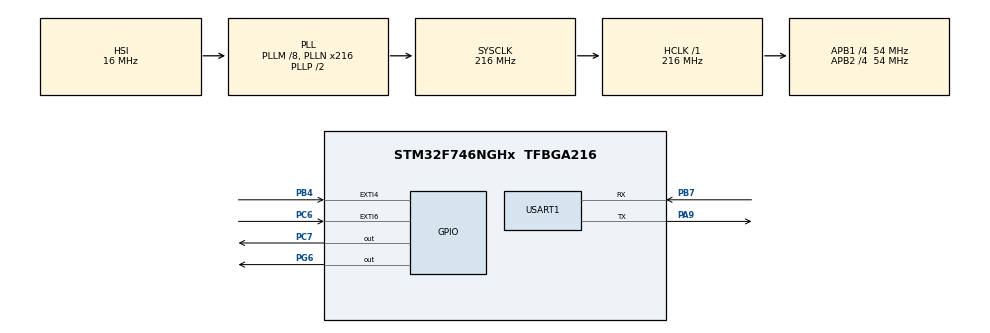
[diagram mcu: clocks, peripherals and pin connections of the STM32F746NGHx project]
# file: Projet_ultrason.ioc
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Mcu.Family=STM32F7
Mcu.Name=STM32F746NGHx
Mcu.Package=TFBGA216
NVIC.EXTI4_IRQn=true\:0\:0\:false\:false\:true\:true\:true
NVIC.EXTI9_5_IRQn=true\:0\:0\:false\:false\:true\:true\:true
NVIC.PriorityGroup=NVIC_PRIORITYGROUP_4
NVIC.TIM1_UP_TIM10_IRQn=true\:15\:0\:false\:false\:true\:false\:true
NVIC.TIM2_IRQn=true\:0\:0\:false\:false\:true\:true\:true
NVIC.TIM3_IRQn=true\:0\:0\:false\:false\:true\:true\:true
NVIC.TIM4_IRQn=true\:0\:0\:false\:false\:true\:true\:true
NVIC.TimeBase=TIM1_UP_TIM10_IRQn
NVIC.TimeBaseIP=TIM1
NVIC.USART1_IRQn=true\:0\:0\:false\:false\:true\:true\:true
PA13.Mode=Serial_Wire
PA13.Signal=SYS_JTMS-SWDIO
PA14.Mode=Serial_Wire
PA14.Signal=SYS_JTCK-SWCLK
PA9.Mode=Asynchronous
PA9.Signal=USART1_TX
PB4.Signal=GPXTI4
PB7.Mode=Asynchronous
PB7.Signal=USART1_RX
PC6.GPIO_ModeDefaultEXTI=GPIO_MODE_IT_RISING
PC6.Signal=GPXTI6
PC7.GPIO_ModeDefaultOutputPP=GPIO_MODE_OUTPUT_PP
PC7.GPIO_PuPd=GPIO_PULLUP
PC7.GPIO_Speed=GPIO_SPEED_FREQ_VERY_HIGH
PC7.PinState=GPIO_PIN_RESET
PC7.Signal=GPIO_Output
PG6.GPIO_PuPd=GPIO_PULLUP
PG6.GPIO_Speed=GPIO_SPEED_FREQ_VERY_HIGH
PG6.Signal=GPIO_Output
PH0/OSC_IN.Mode=HSE-External-Oscillator
PH0/OSC_IN.Signal=RCC_OSC_IN
PH1/OSC_OUT.Mode=HSE-External-Oscillator
PH1/OSC_OUT.Signal=RCC_OSC_OUT
ProjectManager.HeapSize=0x200
ProjectManager.StackSize=0x400
ProjectManager.TargetToolchain=STM32CubeIDE
RCC.AHBFreq_Value=216000000
RCC.APB1CLKDivider=RCC_HCLK_DIV4
RCC.APB1Freq_Value=54000000
RCC.APB1TimFreq_Value=108000000
RCC.APB2CLKDivider=RCC_HCLK_DIV4
RCC.APB2Freq_Value=54000000
RCC.APB2TimFreq_Value=108000000
RCC.CortexFreq_Value=216000000
RCC.HCLKFreq_Value=216000000
RCC.HSE_VALUE=25000000
RCC.HSI_VALUE=16000000
RCC.LSE_VALUE=32768
RCC.PLLM=8
RCC.PLLN=216
RCC.PLLSourceVirtual=RCC_PLLSOURCE_HSI
RCC.SYSCLKFreq_VALUE=216000000
RCC.SYSCLKSource=RCC_SYSCLKSOURCE_PLLCLK
RCC.USBFreq_Value=216000000
RCC.VCOOutputFreq_Value=432000000
TIM2.Period=1079
TIM3.Period=16666
TIM3.Prescaler=107
TIM4.Period=16666
TIM4.Prescaler=107
USART1.VirtualMode-Asynchronous=VM_ASYNC
VP_SYS_VS_tim1.Mode=TIM1
VP_TIM2_VS_ClockSourceINT.Mode=Internal
VP_TIM3_VS_ClockSourceINT.Mode=Internal
VP_TIM4_VS_ClockSourceINT.Mode=Internal
board=STM32F746G-DISCO

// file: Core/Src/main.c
/* USER CODE BEGIN Header */
/**
  ******************************************************************************
  * @file           : main.c
  * @brief          : Main program body
  ******************************************************************************
  * @attention
  *
  * <h2><center>&copy; Copyright (c) 2021 STMicroelectronics.
  * All rights reserved.</center></h2>
  *
  * This software component is licensed by ST under BSD 3-Clause license,
  * the "License"; You may not use this file except in compliance with the
  * License. You may obtain a copy of the License at:
  *                        opensource.org/licenses/BSD-3-Clause
  *
  ******************************************************************************
  */
/* USER CODE END Header */
#include "main.h"

TIM_HandleTypeDef htim2;
TIM_HandleTypeDef htim3;
TIM_HandleTypeDef htim4;

UART_HandleTypeDef huart1;

/* USER CODE BEGIN PV */
uint8_t data[10];
uint8_t data_2[10];
uint8_t ASK_T=0;
uint8_t ASK_U=0;

/* USER CODE END PV */

void SystemClock_Config(void);
static void MX_GPIO_Init(void);
static void MX_USART1_UART_Init(void);
static void MX_TIM2_Init(void);
static void MX_TIM4_Init(void);
static void MX_TIM3_Init(void);

/* USER CODE BEGIN 0 */
int __io_putchar(int ch) {
HAL_UART_Transmit(&huart1, (uint8_t *)&ch, 1, HAL_MAX_DELAY);
return ch;
}
/* USER CODE END 0 */

int main(void)
{

  /* MCU Configuration--------------------------------------------------------*/

  /* Reset of all peripherals, Initializes the Flash interface and the Systick. */
  HAL_Init();

  /* Configure the system clock */
  SystemClock_Config();

  /* Initialize all configured peripherals */
  MX_GPIO_Init();
  MX_USART1_UART_Init();
  MX_TIM2_Init();
  MX_TIM4_Init();
  MX_TIM3_Init();
  /* USER CODE BEGIN 2 */
  HAL_TIM_Base_Start_IT(&htim2);
  HAL_UART_Receive_IT (&huart1, data, 1);
  HAL_UART_Receive_IT (&huart1, data_2, 1);
  HAL_TIM_Base_Start(&htim4);
  /* USER CODE END 2 */

  /* Infinite loop */
  while (1)
  {

    /* USER CODE BEGIN 3 */
	 /* if(ASK_T == 1){

		  //GPIO_PIN_SET(PC7);
		  HAL_GPIO_WritePin(GPIOC, GPIO_PIN_7, GPIO_PIN_SET);
		  //printf("\r\nTrigger demandé !!\r\n");
		  //ASK_T=0;
		  //HAL_TIM_Base_Start_IT(&htim2);
	  }*/
	  //printf("duree = %d\r\n", TIM4->CNT);
	  //printf("distance = %f m\r\n ", distance);
  }
  /* USER CODE END 3 */
}

void SystemClock_Config(void)
{
  RCC_OscInitTypeDef RCC_OscInitStruct = {0};
  RCC_ClkInitTypeDef RCC_ClkInitStruct = {0};
  RCC_PeriphCLKInitTypeDef PeriphClkInitStruct = {0};

  /** Configure the main internal regulator output voltage
  */
  __HAL_RCC_PWR_CLK_ENABLE();
  __HAL_PWR_VOLTAGESCALING_CONFIG(PWR_REGULATOR_VOLTAGE_SCALE1);
  /** Initializes the RCC Oscillators according to the specified parameters
  * in the RCC_OscInitTypeDef structure.
  */
  RCC_OscInitStruct.OscillatorType = RCC_OSCILLATORTYPE_HSI;
  RCC_OscInitStruct.HSIState = RCC_HSI_ON;
  RCC_OscInitStruct.HSICalibrationValue = RCC_HSICALIBRATION_DEFAULT;
  RCC_OscInitStruct.PLL.PLLState = RCC_PLL_ON;
  RCC_OscInitStruct.PLL.PLLSource = RCC_PLLSOURCE_HSI;
  RCC_OscInitStruct.PLL.PLLM = 8;
  RCC_OscInitStruct.PLL.PLLN = 216;
  RCC_OscInitStruct.PLL.PLLP = RCC_PLLP_DIV2;
  RCC_OscInitStruct.PLL.PLLQ = 2;
  if (HAL_RCC_OscConfig(&RCC_OscInitStruct) != HAL_OK)
  {
    Error_Handler();
  }
  /** Activate the Over-Drive mode
  */
  if (HAL_PWREx_EnableOverDrive() != HAL_OK)
  {
    Error_Handler();
  }
  /** Initializes the CPU, AHB and APB buses clocks
  */
  RCC_ClkInitStruct.ClockType = RCC_CLOCKTYPE_HCLK|RCC_CLOCKTYPE_SYSCLK
                              |RCC_CLOCKTYPE_PCLK1|RCC_CLOCKTYPE_PCLK2;
  RCC_ClkInitStruct.SYSCLKSource = RCC_SYSCLKSOURCE_PLLCLK;
  RCC_ClkInitStruct.AHBCLKDivider = RCC_SYSCLK_DIV1;
  RCC_ClkInitStruct.APB1CLKDivider = RCC_HCLK_DIV4;
  RCC_ClkInitStruct.APB2CLKDivider = RCC_HCLK_DIV4;

  if (HAL_RCC_ClockConfig(&RCC_ClkInitStruct, FLASH_LATENCY_7) != HAL_OK)
  {
    Error_Handler();
  }
  PeriphClkInitStruct.PeriphClockSelection = RCC_PERIPHCLK_USART1;
  PeriphClkInitStruct.Usart1ClockSelection = RCC_USART1CLKSOURCE_PCLK2;
  if (HAL_RCCEx_PeriphCLKConfig(&PeriphClkInitStruct) != HAL_OK)
  {
    Error_Handler();
  }
}

static void MX_TIM2_Init(void)
{

  TIM_ClockConfigTypeDef sClockSourceConfig = {0};
  TIM_MasterConfigTypeDef sMasterConfig = {0};

  htim2.Instance = TIM2;
  htim2.Init.Prescaler = 0;
  htim2.Init.CounterMode = TIM_COUNTERMODE_UP;
  htim2.Init.Period = 1079;
  htim2.Init.ClockDivision = TIM_CLOCKDIVISION_DIV1;
  htim2.Init.AutoReloadPreload = TIM_AUTORELOAD_PRELOAD_DISABLE;
  if (HAL_TIM_Base_Init(&htim2) != HAL_OK)
  {
    Error_Handler();
  }
  sClockSourceConfig.ClockSource = TIM_CLOCKSOURCE_INTERNAL;
  if (HAL_TIM_ConfigClockSource(&htim2, &sClockSourceConfig) != HAL_OK)
  {
    Error_Handler();
  }
  sMasterConfig.MasterOutputTrigger = TIM_TRGO_RESET;
  sMasterConfig.MasterSlaveMode = TIM_MASTERSLAVEMODE_DISABLE;
  if (HAL_TIMEx_MasterConfigSynchronization(&htim2, &sMasterConfig) != HAL_OK)
  {
    Error_Handler();
  }

}

static void MX_TIM3_Init(void)
{

  TIM_ClockConfigTypeDef sClockSourceConfig = {0};
  TIM_MasterConfigTypeDef sMasterConfig = {0};

  htim3.Instance = TIM3;
  htim3.Init.Prescaler = 107;
  htim3.Init.CounterMode = TIM_COUNTERMODE_UP;
  htim3.Init.Period = 16666;
  htim3.Init.ClockDivision = TIM_CLOCKDIVISION_DIV1;
  htim3.Init.AutoReloadPreload = TIM_AUTORELOAD_PRELOAD_DISABLE;
  if (HAL_TIM_Base_Init(&htim3) != HAL_OK)
  {
    Error_Handler();
  }
  sClockSourceConfig.ClockSource = TIM_CLOCKSOURCE_INTERNAL;
  if (HAL_TIM_ConfigClockSource(&htim3, &sClockSourceConfig) != HAL_OK)
  {
    Error_Handler();
  }
  sMasterConfig.MasterOutputTrigger = TIM_TRGO_RESET;
  sMasterConfig.MasterSlaveMode = TIM_MASTERSLAVEMODE_DISABLE;
  if (HAL_TIMEx_MasterConfigSynchronization(&htim3, &sMasterConfig) != HAL_OK)
  {
    Error_Handler();
  }

}

static void MX_TIM4_Init(void)
{

  TIM_ClockConfigTypeDef sClockSourceConfig = {0};
  TIM_MasterConfigTypeDef sMasterConfig = {0};

  htim4.Instance = TIM4;
  htim4.Init.Prescaler = 107;
  htim4.Init.CounterMode = TIM_COUNTERMODE_UP;
  htim4.Init.Period = 16666;
  htim4.Init.ClockDivision = TIM_CLOCKDIVISION_DIV1;
  htim4.Init.AutoReloadPreload = TIM_AUTORELOAD_PRELOAD_DISABLE;
  if (HAL_TIM_Base_Init(&htim4) != HAL_OK)
  {
    Error_Handler();
  }
  sClockSourceConfig.ClockSource = TIM_CLOCKSOURCE_INTERNAL;
  if (HAL_TIM_ConfigClockSource(&htim4, &sClockSourceConfig) != HAL_OK)
  {
    Error_Handler();
  }
  sMasterConfig.MasterOutputTrigger = TIM_TRGO_RESET;
  sMasterConfig.MasterSlaveMode = TIM_MASTERSLAVEMODE_DISABLE;
  if (HAL_TIMEx_MasterConfigSynchronization(&htim4, &sMasterConfig) != HAL_OK)
  {
    Error_Handler();
  }

}

static void MX_USART1_UART_Init(void)
{

  huart1.Instance = USART1;
  huart1.Init.BaudRate = 115200;
  huart1.Init.WordLength = UART_WORDLENGTH_8B;
  huart1.Init.StopBits = UART_STOPBITS_1;
  huart1.Init.Parity = UART_PARITY_NONE;
  huart1.Init.Mode = UART_MODE_TX_RX;
  huart1.Init.HwFlowCtl = UART_HWCONTROL_NONE;
  huart1.Init.OverSampling = UART_OVERSAMPLING_16;
  huart1.Init.OneBitSampling = UART_ONE_BIT_SAMPLE_DISABLE;
  huart1.AdvancedInit.AdvFeatureInit = UART_ADVFEATURE_NO_INIT;
  if (HAL_UART_Init(&huart1) != HAL_OK)
  {
    Error_Handler();
  }

}

static void MX_GPIO_Init(void)
{
  GPIO_InitTypeDef GPIO_InitStruct = {0};

  /* GPIO Ports Clock Enable */
  __HAL_RCC_GPIOB_CLK_ENABLE();
  __HAL_RCC_GPIOA_CLK_ENABLE();
  __HAL_RCC_GPIOH_CLK_ENABLE();
  __HAL_RCC_GPIOC_CLK_ENABLE();
  __HAL_RCC_GPIOG_CLK_ENABLE();

  /*Configure GPIO pin Output Level */
  HAL_GPIO_WritePin(GPIOC, GPIO_PIN_7, GPIO_PIN_RESET);

  /*Configure GPIO pin Output Level */
  HAL_GPIO_WritePin(GPIOG, GPIO_PIN_6, GPIO_PIN_RESET);

  /*Configure GPIO pin : PB4 */
  GPIO_InitStruct.Pin = GPIO_PIN_4;
  GPIO_InitStruct.Mode = GPIO_MODE_IT_RISING;
  GPIO_InitStruct.Pull = GPIO_NOPULL;
  HAL_GPIO_Init(GPIOB, &GPIO_InitStruct);

  /*Configure GPIO pin : PC7 */
  GPIO_InitStruct.Pin = GPIO_PIN_7;
  GPIO_InitStruct.Mode = GPIO_MODE_OUTPUT_PP;
  GPIO_InitStruct.Pull = GPIO_PULLUP;
  GPIO_InitStruct.Speed = GPIO_SPEED_FREQ_VERY_HIGH;
  HAL_GPIO_Init(GPIOC, &GPIO_InitStruct);

  /*Configure GPIO pin : PC6 */
  GPIO_InitStruct.Pin = GPIO_PIN_6;
  GPIO_InitStruct.Mode = GPIO_MODE_IT_RISING;
  GPIO_InitStruct.Pull = GPIO_NOPULL;
  HAL_GPIO_Init(GPIOC, &GPIO_InitStruct);

  /*Configure GPIO pin : PG6 */
  GPIO_InitStruct.Pin = GPIO_PIN_6;
  GPIO_InitStruct.Mode = GPIO_MODE_OUTPUT_PP;
  GPIO_InitStruct.Pull = GPIO_PULLUP;
  GPIO_InitStruct.Speed = GPIO_SPEED_FREQ_VERY_HIGH;
  HAL_GPIO_Init(GPIOG, &GPIO_InitStruct);

  /* EXTI interrupt init*/
  HAL_NVIC_SetPriority(EXTI4_IRQn, 0, 0);
  HAL_NVIC_EnableIRQ(EXTI4_IRQn);

  HAL_NVIC_SetPriority(EXTI9_5_IRQn, 0, 0);
  HAL_NVIC_EnableIRQ(EXTI9_5_IRQn);

}

/* USER CODE BEGIN 4 */
void HAL_UART_RxCpltCallback(UART_HandleTypeDef *huart)
{
	if(huart->Instance ==USART1){
		HAL_UART_Receive_IT(&huart1, data,1);
		if(!strncmp("T",data,1)){
			ASK_T = 1;
		}
		else if(!strncmp("U",data,1)){
			ASK_U = 1;
		}
	}
}

/* USER CODE END 4 */

void HAL_TIM_PeriodElapsedCallback(TIM_HandleTypeDef *htim)
{
  if (htim->Instance == TIM1) {
    HAL_IncTick();
  }
}

void Error_Handler(void)
{
  __disable_irq();
  while (1)
  {
  }
}

/************************ (C) COPYRIGHT STMicroelectronics *****END OF FILE****/
